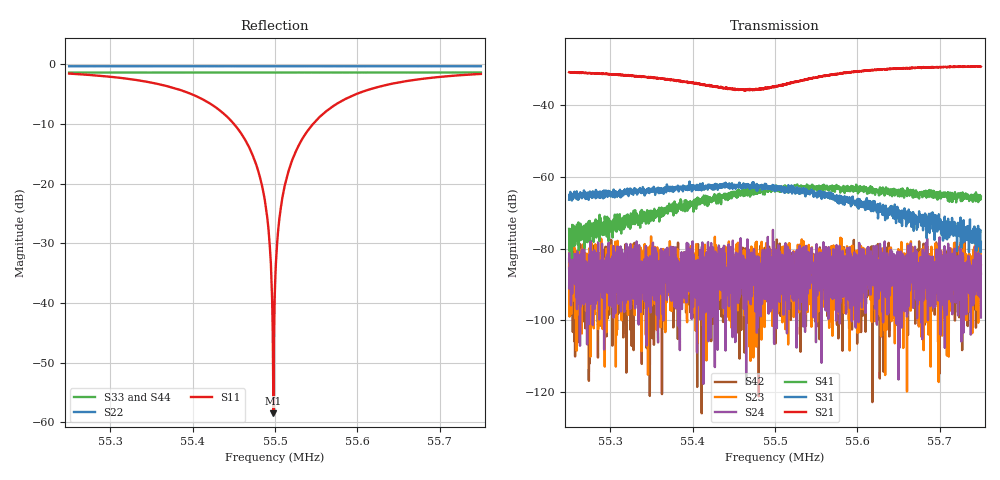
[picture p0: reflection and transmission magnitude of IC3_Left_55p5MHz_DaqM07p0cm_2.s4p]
#  HZ  S  DB  R  50.00
! Rohde & Schwarz Vector Network Analyzer
! Rohde-Schwarz,ZNB8-4Port,1311601044102961,2.82
! Created: UTC 2/13/2019, 9:37:39 AM
! freq[Hz]  db:S11  ang:S11  db:S12  ang:S12  db:S13  ang:S13  db:S14  ang:S14
!  db:S21  ang:S21  db:S22  ang:S22  db:S23  ang:S23  db:S24  ang:S24
!  db:S31  ang:S31  db:S32  ang:S32  db:S33  ang:S33  db:S34  ang:S34
!  db:S41  ang:S41  db:S42  ang:S42  db:S43  ang:S43  db:S44  ang:S44
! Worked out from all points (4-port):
!   2001 points, 55.25 MHz to 55.75 MHz, reference 50 ohm
!   strongest paths, dB at 55.25 MHz, 55.375 MHz, 55.5 MHz, 55.625 MHz, 55.75 MHz:
!     S21: -30.7, -32.8, -34.7, -30.1, -29.2
!     S31: -66.3, -63.8, -62.4, -71.6, -78.3
!     S41: -74.5, -68.6, -63.5, -63.9, -65.6
!     S24: -91.1, -82.0, -90.7, -84.8, -99.3
!     S23: -85.5, -82.5, -83.4, -82.8, -84.6
!     S42: -82.9, -82.4, -93.3, -78.7, -87.0
!   lowest |S11| = -58.5 dB at 55.498 MHz (marker M1), VSWR 1.00, Z = 50.1 + j0.0938 ohm
!   |S11| at or under -10 dB: 55.45008 MHz to 55.54623 MHz (96.15 kHz wide, 0.173 % of centre)
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5.525e7  -1.56 -135.6  -30.70 71.3  -64.93 -144.5  -76.19 -21.9
         -30.75 71.9  -0.34 94.1  -85.47 132.1  -91.07 138.5
         -66.34 -151.8  -84.26 -126.7  -1.39 34.9  -83.86 75.8
         -74.50 11.0  -82.89 152.9  -91.57 6.9  -1.38 28.5
5.5451e7  -10.15 169.8  -35.44 77.4  -62.95 164.5  -64.92 -40.2
          -35.31 77.0  -0.33 90.5  -91.26 157.3  -84.73 114.8
          -62.14 163.4  -86.64 -173.8  -1.38 32.5  -83.40 119.4
          -64.48 -39.7  -90.35 51.3  -93.31 -172.1  -1.37 26.0
5.548525e7  -21.01 154.0  -35.34 91.1  -62.76 150.6  -63.45 -56.2
            -35.47 90.7  -0.33 89.8  -100.96 -85.5  -80.37 73.6
            -62.41 149.9  -91.40 -14.8  -1.38 32.1  -93.61 89.3
            -62.85 -52.5  -85.16 -114.2  -91.20 -122.5  -1.38 25.6
5.5498e7  -58.50 52.1  -34.80 95.6  -63.36 147.4  -63.83 -55.3
          -34.68 95.8  -0.33 89.6  -85.48 -34.3  -89.42 161.7
          -63.19 142.5  -92.14 49.3  -1.38 32.0  -87.60 -157.0
          -63.39 -54.8  -81.47 -175.8  -94.20 -80.7  -1.37 25.4
5.5511e7  -20.89 -37.5  -34.23 99.8  -62.92 136.0  -62.65 -56.9
          -34.20 99.5  -0.33 89.3  -86.00 -84.5  -90.66 49.2
          -64.34 137.8  -84.41 148.3  -1.38 31.8  -91.63 -55.8
          -63.55 -66.8  -92.77 -174.9  -90.99 -87.4  -1.37 25.3
5.55455e7  -10.12 -54.1  -32.27 101.4  -64.58 119.4  -62.59 -72.9
           -32.42 101.8  -0.33 88.7  -87.18 162.0  -85.89 81.6
           -64.35 126.8  -84.87 74.1  -1.38 31.3  -90.33 60.9
           -63.89 -78.4  -88.56 -50.6  -88.17 119.9  -1.37 24.9
5.575e7  -1.62 -108.8  -28.98 79.6  -74.24 96.3  -66.21 -124.2
         -29.16 79.9  -0.33 85.0  -84.63 -53.5  -99.28 176.2
         -78.35 91.3  -84.35 -145.9  -1.37 28.9  -88.27 -177.4
         -65.58 -126.3  -86.98 157.8  -91.25 -59.0  -1.37 22.3
